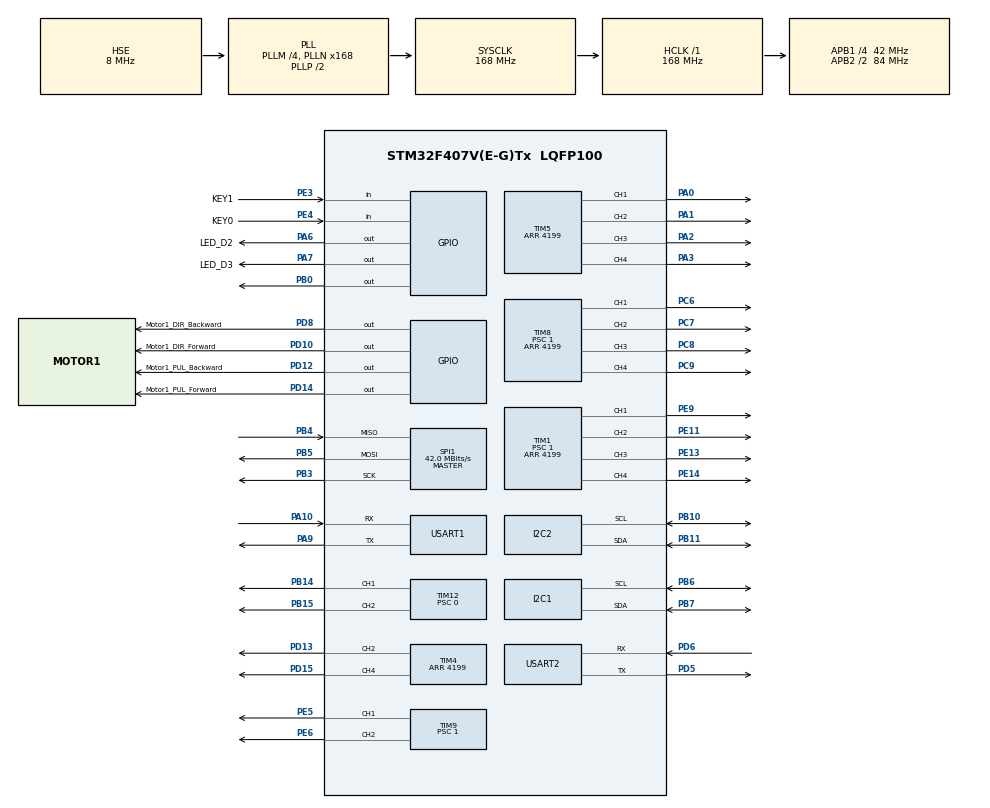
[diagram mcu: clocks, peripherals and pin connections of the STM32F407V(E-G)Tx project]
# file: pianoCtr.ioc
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Dma.Request0=USART2_RX
Dma.Request1=USART2_TX
Dma.USART2_RX.0.Direction=DMA_PERIPH_TO_MEMORY
Dma.USART2_RX.0.FIFOMode=DMA_FIFOMODE_DISABLE
Dma.USART2_RX.0.Instance=DMA1_Stream5
Dma.USART2_RX.0.MemDataAlignment=DMA_MDATAALIGN_BYTE
Dma.USART2_RX.0.MemInc=DMA_MINC_ENABLE
Dma.USART2_RX.0.Mode=DMA_NORMAL
Dma.USART2_RX.0.PeriphDataAlignment=DMA_PDATAALIGN_BYTE
Dma.USART2_RX.0.PeriphInc=DMA_PINC_DISABLE
Dma.USART2_RX.0.Priority=DMA_PRIORITY_MEDIUM
Dma.USART2_TX.1.Direction=DMA_MEMORY_TO_PERIPH
Dma.USART2_TX.1.FIFOMode=DMA_FIFOMODE_DISABLE
Dma.USART2_TX.1.Instance=DMA1_Stream6
Dma.USART2_TX.1.MemDataAlignment=DMA_MDATAALIGN_BYTE
Dma.USART2_TX.1.MemInc=DMA_MINC_ENABLE
Dma.USART2_TX.1.Mode=DMA_NORMAL
Dma.USART2_TX.1.PeriphDataAlignment=DMA_PDATAALIGN_BYTE
Dma.USART2_TX.1.PeriphInc=DMA_PINC_DISABLE
Dma.USART2_TX.1.Priority=DMA_PRIORITY_MEDIUM
Mcu.Family=STM32F4
Mcu.Name=STM32F407V(E-G)Tx
Mcu.Package=LQFP100
NVIC.DMA1_Stream5_IRQn=true\:5\:0\:true\:false\:true\:false\:true\:true
NVIC.DMA1_Stream6_IRQn=true\:5\:0\:true\:false\:true\:false\:true\:true
NVIC.PriorityGroup=NVIC_PRIORITYGROUP_4
NVIC.TIM6_DAC_IRQn=true\:15\:0\:false\:false\:true\:false\:true\:true
NVIC.TIM7_IRQn=true\:6\:0\:true\:false\:true\:true\:true\:true
NVIC.TimeBase=TIM6_DAC_IRQn
NVIC.TimeBaseIP=TIM6
NVIC.USART1_IRQn=true\:9\:0\:true\:false\:true\:true\:true\:true
NVIC.USART2_IRQn=true\:7\:0\:true\:false\:true\:true\:true\:true
PA0-WKUP.Signal=S_TIM5_CH1
PA1.Signal=S_TIM5_CH2
PA10.Mode=Asynchronous
PA10.Signal=USART1_RX
PA13.Mode=Serial_Wire
PA13.Signal=SYS_JTMS-SWDIO
PA14.Mode=Serial_Wire
PA14.Signal=SYS_JTCK-SWCLK
PA2.Signal=S_TIM5_CH3
PA3.Signal=S_TIM5_CH4
PA6.GPIO_Label=LED_D2
PA6.Signal=GPIO_Output
PA7.GPIO_Label=LED_D3
PA7.Signal=GPIO_Output
PA9.Mode=Asynchronous
PA9.Signal=USART1_TX
PB0.Signal=GPIO_Output
PB10.Mode=I2C
PB10.Signal=I2C2_SCL
PB11.Mode=I2C
PB11.Signal=I2C2_SDA
PB14.Signal=S_TIM12_CH1
PB15.Signal=S_TIM12_CH2
PB3.Mode=Full_Duplex_Master
PB3.Signal=SPI1_SCK
PB4.Mode=Full_Duplex_Master
PB4.Signal=SPI1_MISO
PB5.Mode=Full_Duplex_Master
PB5.Signal=SPI1_MOSI
PB6.Mode=I2C
PB6.Signal=I2C1_SCL
PB7.Mode=I2C
PB7.Signal=I2C1_SDA
PC6.Signal=S_TIM8_CH1
PC7.Signal=S_TIM8_CH2
PC8.Signal=S_TIM8_CH3
PC9.Signal=S_TIM8_CH4
PD10.GPIO_Label=Motor1_DIR_Forward
PD10.GPIO_Speed=GPIO_SPEED_FREQ_HIGH
PD10.Signal=GPIO_Output
PD12.GPIO_Label=Motor1_PUL_Backward
PD12.GPIO_Speed=GPIO_SPEED_FREQ_HIGH
PD12.Signal=GPIO_Output
PD13.Signal=S_TIM4_CH2
PD14.GPIO_Label=Motor1_PUL_Forward
PD14.GPIO_Speed=GPIO_SPEED_FREQ_HIGH
PD14.Signal=GPIO_Output
PD15.Signal=S_TIM4_CH4
PD5.Mode=Asynchronous
PD5.Signal=USART2_TX
PD6.Mode=Asynchronous
PD6.Signal=USART2_RX
PD8.GPIO_Label=Motor1_DIR_Backward
PD8.GPIO_Speed=GPIO_SPEED_FREQ_HIGH
PD8.Signal=GPIO_Output
PE11.Signal=S_TIM1_CH2
PE13.Signal=S_TIM1_CH3
PE14.Signal=S_TIM1_CH4
PE3.GPIO_Label=KEY1
PE3.GPIO_PuPd=GPIO_PULLUP
PE3.Signal=GPIO_Input
PE4.GPIO_Label=KEY0
PE4.GPIO_PuPd=GPIO_PULLUP
PE4.Signal=GPIO_Input
PE5.Signal=S_TIM9_CH1
PE6.Signal=S_TIM9_CH2
PE9.Signal=S_TIM1_CH1
PH0-OSC_IN.Mode=HSE-External-Oscillator
PH0-OSC_IN.Signal=RCC_OSC_IN
PH1-OSC_OUT.Mode=HSE-External-Oscillator
PH1-OSC_OUT.Signal=RCC_OSC_OUT
ProjectManager.HeapSize=0x400
ProjectManager.StackSize=0x1000
ProjectManager.TargetToolchain=MDK-ARM V5.32
RCC.48MHZClocksFreq_Value=84000000
RCC.AHBFreq_Value=168000000
RCC.APB1CLKDivider=RCC_HCLK_DIV4
RCC.APB1Freq_Value=42000000
RCC.APB1TimFreq_Value=84000000
RCC.APB2CLKDivider=RCC_HCLK_DIV2
RCC.APB2Freq_Value=84000000
RCC.APB2TimFreq_Value=168000000
RCC.CortexFreq_Value=168000000
RCC.HCLKFreq_Value=168000000
RCC.HSE_VALUE=8000000
RCC.HSI_VALUE=16000000
RCC.LSE_VALUE=32768
RCC.PLLM=4
RCC.PLLN=168
RCC.PLLSourceVirtual=RCC_PLLSOURCE_HSE
RCC.SYSCLKFreq_VALUE=168000000
RCC.SYSCLKSource=RCC_SYSCLKSOURCE_PLLCLK
RCC.VCOOutputFreq_Value=336000000
SH.S_TIM12_CH1.0=TIM12_CH1,PWM Generation1 CH1
SH.S_TIM12_CH2.0=TIM12_CH2,PWM Generation2 CH2
SH.S_TIM1_CH1.0=TIM1_CH1,PWM Generation1 CH1
SH.S_TIM1_CH2.0=TIM1_CH2,PWM Generation2 CH2
SH.S_TIM1_CH3.0=TIM1_CH3,PWM Generation3 CH3
SH.S_TIM1_CH4.0=TIM1_CH4,PWM Generation4 CH4
SH.S_TIM4_CH2.0=TIM4_CH2,PWM Generation2 CH2
SH.S_TIM4_CH4.0=TIM4_CH4,PWM Generation4 CH4
SH.S_TIM5_CH1.0=TIM5_CH1,PWM Generation1 CH1
SH.S_TIM5_CH2.0=TIM5_CH2,PWM Generation2 CH2
SH.S_TIM5_CH3.0=TIM5_CH3,PWM Generation3 CH3
SH.S_TIM5_CH4.0=TIM5_CH4,PWM Generation4 CH4
SH.S_TIM8_CH1.0=TIM8_CH1,PWM Generation1 CH1
SH.S_TIM8_CH2.0=TIM8_CH2,PWM Generation2 CH2
SH.S_TIM8_CH3.0=TIM8_CH3,PWM Generation3 CH3
SH.S_TIM8_CH4.0=TIM8_CH4,PWM Generation4 CH4
SH.S_TIM9_CH1.0=TIM9_CH1,PWM Generation1 CH1
SH.S_TIM9_CH2.0=TIM9_CH2,PWM Generation2 CH2
SPI1.CalculateBaudRate=42.0 MBits/s
SPI1.Direction=SPI_DIRECTION_2LINES
SPI1.Mode=SPI_MODE_MASTER
SPI1.VirtualType=VM_MASTER
TIM1.AutomaticOutput=TIM_AUTOMATICOUTPUT_ENABLE
TIM1.Channel-PWM\ Generation1\ CH1=TIM_CHANNEL_1
TIM1.Channel-PWM\ Generation2\ CH2=TIM_CHANNEL_2
TIM1.Channel-PWM\ Generation3\ CH3=TIM_CHANNEL_3
TIM1.Channel-PWM\ Generation4\ CH4=TIM_CHANNEL_4
TIM1.Period=4199
TIM1.Prescaler=1
TIM1.TIM_MasterOutputTrigger=TIM_TRGO_UPDATE
TIM12.Channel-PWM\ Generation1\ CH1=TIM_CHANNEL_1
TIM12.Channel-PWM\ Generation2\ CH2=TIM_CHANNEL_2
TIM12.Period=4199
TIM12.Prescaler=0
TIM3.Period=4199
TIM3.Prescaler=0
TIM4.Channel-PWM\ Generation2\ CH2=TIM_CHANNEL_2
TIM4.Channel-PWM\ Generation4\ CH4=TIM_CHANNEL_4
TIM4.Period=4199
TIM5.Channel-PWM\ Generation1\ CH1=TIM_CHANNEL_1
TIM5.Channel-PWM\ Generation2\ CH2=TIM_CHANNEL_2
TIM5.Channel-PWM\ Generation3\ CH3=TIM_CHANNEL_3
TIM5.Channel-PWM\ Generation4\ CH4=TIM_CHANNEL_4
TIM5.Period=4199
TIM7.Period=199
TIM7.Prescaler=5
TIM8.AutomaticOutput=TIM_AUTOMATICOUTPUT_ENABLE
TIM8.Channel-PWM\ Generation1\ CH1=TIM_CHANNEL_1
TIM8.Channel-PWM\ Generation2\ CH2=TIM_CHANNEL_2
TIM8.Channel-PWM\ Generation3\ CH3=TIM_CHANNEL_3
TIM8.Channel-PWM\ Generation4\ CH4=TIM_CHANNEL_4
TIM8.Period=4199
TIM8.Prescaler=1
TIM9.Channel-PWM\ Generation1\ CH1=TIM_CHANNEL_1
TIM9.Channel-PWM\ Generation2\ CH2=TIM_CHANNEL_2
TIM9.Period=4199
TIM9.Prescaler=1
USART1.VirtualMode=VM_ASYNC
USART2.VirtualMode=VM_ASYNC
VP_SYS_VS_tim6.Mode=TIM6
VP_TIM1_VS_ClockSourceINT.Mode=Internal
VP_TIM3_VS_ClockSourceINT.Mode=Internal
VP_TIM7_VS_ClockSourceINT.Mode=Enable_Timer
board=custom

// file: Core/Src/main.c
/* USER CODE BEGIN Header */
/**
 ******************************************************************************
 * @file           : main.c
 * @brief          : Main program body
 ******************************************************************************
 * @attention
 *
 * Copyright (c) 2024 STMicroelectronics.
 * All rights reserved.
 *
 * This software is licensed under terms that can be found in the LICENSE file
 * in the root directory of this software component.
 * If no LICENSE file comes with this software, it is provided AS-IS.
 *
 ******************************************************************************
 */
/* USER CODE END Header */
#include "main.h"
#include "dma.h"
#include "i2c.h"
#include "spi.h"
#include "tim.h"
#include "usart.h"
#include "gpio.h"
#include <string.h>

/* USER CODE BEGIN Includes */
#include "MCU_BSP.h"
#include "PCA9685.h"
#include "TASK.h"
#include "app_piano.h"
#include "oled.h"
#include "stepper_motor.h"
#include "Flash.h"
/* USER CODE END Includes */

/* USER CODE BEGIN PD */
extern uint8_t midi_Buff[RX_MIDI_LEN];
extern uint8_t flag_data;
//extern uint8_t rxIndex ;
/* USER CODE END PD */

void SystemClock_Config(void);

/* USER CODE BEGIN 0 */
void PrintToUART(const char *str)
{
    HAL_UART_Transmit(&huart1, (uint8_t *)str, strlen(str), HAL_MAX_DELAY);
}
/* USER CODE END 0 */

int main(void)
{

  /* USER CODE BEGIN 1 */

    //uint8_t flag = 0;
		flag_data = 0;
	//uint32_t flashAddress;
  /* USER CODE END 1 */

  /* MCU Configuration--------------------------------------------------------*/

  /* Reset of all peripherals, Initializes the Flash interface and the Systick. */
  HAL_Init();

  /* Configure the system clock */
  SystemClock_Config();

  /* Initialize all configured peripherals */
  MX_GPIO_Init();
  MX_DMA_Init();
  MX_USART1_UART_Init();
  MX_USART2_UART_Init();
  MX_TIM3_Init();
  MX_TIM7_Init();
  MX_TIM1_Init();
  MX_TIM4_Init();
  MX_TIM5_Init();
  MX_TIM8_Init();
  MX_TIM9_Init();
  MX_TIM12_Init();
  MX_I2C1_Init();
  MX_I2C2_Init();
  MX_SPI1_Init();
  /* USER CODE BEGIN 2 */

    MCU_InternalPeripheral_Init();
    PCA9685_Init();
    LED_Init();
//    OLED_Init();
//    OLED_Clear();
    PianoPlayInit();
//    StepperMotor_Init();

//    printf("MCU Start\r\n");
//    OLED_ShowString(0, 0, (uint8_t *)"MCU Star", 16);
//    OLED_ShowString(0, 2, (uint8_t *)"       ", 16);
//    OLED_ShowString(0, 4, (uint8_t *)"  ", 16);
//    OLED_ShowString(0, 6, (uint8_t *)"  ", 16);

  /* USER CODE END 2 */

  /* Infinite loop */
  /* USER CODE BEGIN WHILE */
		uint32_t eraseAddress = 0x000000;
    Flash_Block_Erase(eraseAddress);
		HAL_UART_Receive_IT(&huart1,midi_buf,10);
		//ReceiveAndStoreMidiFile("Long-Long-ago.mid");
		/*uint8_t dataRead[2048];
    Flash_ReadData(FLASH_BASE_ADDRESS, dataRead, sizeof(dataRead));
    PrintToUART("Data read from Flash:\n");

    // 打印读取的数据
    char buffer[10];
    for (int i = 0; i < 64; i++)
    {
			for(int j=0;j<6;j++)
			{
				sprintf(buffer, " %d\n",dataRead[i*6+j]);
        PrintToUART(buffer);
			}
    }*/
		// 13967
    while (1)
    {
    /* USER CODE END WHILE */
			/* if(flag_data){
				ParseReceivedData(midi_buf);
				HAL_UART_Receive_IT(&huart1,midi_buf,10);
				 flag_data=0;
			 }
			 else
			 {
				 HAL_UART_Receive_IT(&huart1,midi_buf,10);
			 }*/

    }
}

void SystemClock_Config(void)
{
  RCC_OscInitTypeDef RCC_OscInitStruct = {0};
  RCC_ClkInitTypeDef RCC_ClkInitStruct = {0};

  /** Configure the main internal regulator output voltage
  */
  __HAL_RCC_PWR_CLK_ENABLE();
  __HAL_PWR_VOLTAGESCALING_CONFIG(PWR_REGULATOR_VOLTAGE_SCALE1);

  /** Initializes the RCC Oscillators according to the specified parameters
  * in the RCC_OscInitTypeDef structure.
  */
  RCC_OscInitStruct.OscillatorType = RCC_OSCILLATORTYPE_HSE;
  RCC_OscInitStruct.HSEState = RCC_HSE_ON;
  RCC_OscInitStruct.PLL.PLLState = RCC_PLL_ON;
  RCC_OscInitStruct.PLL.PLLSource = RCC_PLLSOURCE_HSE;
  RCC_OscInitStruct.PLL.PLLM = 4;
  RCC_OscInitStruct.PLL.PLLN = 168;
  RCC_OscInitStruct.PLL.PLLP = RCC_PLLP_DIV2;
  RCC_OscInitStruct.PLL.PLLQ = 4;
  if (HAL_RCC_OscConfig(&RCC_OscInitStruct) != HAL_OK)
  {
    Error_Handler();
  }

  /** Initializes the CPU, AHB and APB buses clocks
  */
  RCC_ClkInitStruct.ClockType = RCC_CLOCKTYPE_HCLK|RCC_CLOCKTYPE_SYSCLK
                              |RCC_CLOCKTYPE_PCLK1|RCC_CLOCKTYPE_PCLK2;
  RCC_ClkInitStruct.SYSCLKSource = RCC_SYSCLKSOURCE_PLLCLK;
  RCC_ClkInitStruct.AHBCLKDivider = RCC_SYSCLK_DIV1;
  RCC_ClkInitStruct.APB1CLKDivider = RCC_HCLK_DIV4;
  RCC_ClkInitStruct.APB2CLKDivider = RCC_HCLK_DIV2;

  if (HAL_RCC_ClockConfig(&RCC_ClkInitStruct, FLASH_LATENCY_5) != HAL_OK)
  {
    Error_Handler();
  }
}

void HAL_TIM_PeriodElapsedCallback(TIM_HandleTypeDef *htim)
{
  if (htim->Instance == TIM6) {
    HAL_IncTick();
  }
}

void Error_Handler(void)
{
    __disable_irq();
    while (1)
    {
    }
}
